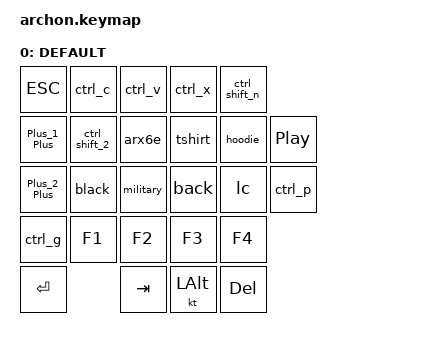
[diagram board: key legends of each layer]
#include <behaviors.dtsi>
#include <dt-bindings/zmk/keys.h>
#include <dt-bindings/zmk/bt.h>
#include <dt-bindings/zmk/outputs.h>

#define DEFAULT 0
#define LOW     1

/ {
    macros {

        // Macro for Ctrl + C (Copy)
        ctrl_c: ctrl_c {
            compatible = "zmk,behavior-macro";
            #binding-cells = <0>;
            bindings =
                <&macro_press &kp LEFT_CONTROL>,
                <&macro_tap &kp C>,
                <&macro_release &kp LEFT_CONTROL>;
        };

         // Macro for .arx6e
         arx6e: arx6e {
            compatible = "zmk,behavior-macro";
            #binding-cells = <0>;
            bindings =
                <&macro_tap &kp PERIOD>,
                <&macro_tap &kp A>,
                <&macro_tap &kp R>,
                <&macro_tap &kp X>,
                <&macro_tap &kp N6>,
                <&macro_tap &kp E>;

        };

        // Macro for T-Shirt
        tshirt: tshirt {
            compatible = "zmk,behavior-macro";
            #binding-cells = <0>;
            bindings = 
                <&macro_tap &kp LS(T)>,
                <&macro_release &kp LS(T)>,
                <&macro_tap &kp MINUS>,
                <&macro_tap &kp LS(S)>,
                <&macro_release &kp LS(S)>,
                <&macro_tap &kp H>,
                <&macro_tap &kp I>,
                <&macro_tap &kp R>,
                <&macro_tap &kp T>;
        };

        // Macro for Hoodie
        hoodie: hoodie {
            compatible = "zmk,behavior-macro";
            #binding-cells = <0>;
            bindings = 
                <&macro_tap &kp LS(H)>,
                <&macro_release &kp LS(H)>,
                <&macro_tap &kp O>,
                <&macro_tap &kp O>,
                <&macro_tap &kp D>,
                <&macro_tap &kp I>,
                <&macro_tap &kp E>;
        };

        // Macro for Military
        military: military {
            compatible = "zmk,behavior-macro";
            #binding-cells = <0>;
            bindings = 
                <&macro_tap &kp LS(M)>,
                <&macro_release &kp LS(M)>,
                <&macro_tap &kp I>,
                <&macro_tap &kp L>,
                <&macro_tap &kp I>,
                <&macro_tap &kp T>,
                <&macro_tap &kp A>,
                <&macro_tap &kp R>,
                <&macro_tap &kp Y>;
        };

        // Macro for Black
        black: black {
            compatible = "zmk,behavior-macro";
            #binding-cells = <0>;
            bindings = 
                <&macro_tap &kp LS(B)>,
                <&macro_release &kp LS(B)>,
                <&macro_tap &kp L>,
                <&macro_tap &kp A>,
                <&macro_tap &kp C>,
                <&macro_tap &kp K>;
        };

        // Macro for Back
        back: back {
            compatible = "zmk,behavior-macro";
            #binding-cells = <0>;
            bindings = 
                <&macro_tap &kp LS(B)>,
                <&macro_release &kp LS(B)>,
                <&macro_tap &kp A>,
                <&macro_tap &kp C>,
                <&macro_tap &kp K>;
        };

        // Macro for LC
        lc: lc {
            compatible = "zmk,behavior-macro";
            #binding-cells = <0>;
            bindings = 
                <&macro_tap &kp LS(L)>,
                <&macro_release &kp LS(L)>,
                <&macro_tap &kp LS(C)>,
                <&macro_release &kp LS(C)>;
        };

        // Macro for Ctrl + V (Paste)
        ctrl_v: ctrl_v {
            compatible = "zmk,behavior-macro";
            #binding-cells = <0>;
            bindings =
                <&macro_press &kp LEFT_CONTROL>,
                <&macro_tap &kp V>,
                <&macro_release &kp LEFT_CONTROL>;
        };

        // Macro for Ctrl + Shift + N (New Folder)
        ctrl_shift_n: ctrl_shift_n {
            compatible = "zmk,behavior-macro";
            #binding-cells = <0>;
            bindings =
                <&macro_press &kp LEFT_CONTROL &kp LSHFT>,
                <&macro_tap &kp N>,
                <&macro_release &kp LEFT_CONTROL &kp LSHFT>;
        };

        // Macro for Ctrl + X (Cut)
        ctrl_x: ctrl_x {
            compatible = "zmk,behavior-macro";
            #binding-cells = <0>;
            bindings =
                <&macro_press &kp LEFT_CONTROL>,
                <&macro_tap &kp X>,
                <&macro_release &kp LEFT_CONTROL>;
        };

        // Macro for Ctrl + Z (Undo)
        ctrl_z: ctrl_z {
            compatible = "zmk,behavior-macro";
            #binding-cells = <0>;
            bindings =
                <&macro_press &kp LEFT_CONTROL>,
                <&macro_tap &kp Z>,
                <&macro_release &kp LEFT_CONTROL>;
        };

        // Macro for Ctrl + Shift + 2 (View Large Icon)
        ctrl_shift_2: ctrl_shift_2 {
            compatible = "zmk,behavior-macro";
            #binding-cells = <0>;
            bindings =
                <&macro_press &kp LEFT_CONTROL &kp LSHFT>,
                <&macro_tap &kp N2>,
                <&macro_release &kp LEFT_CONTROL &kp LSHFT>;
        };

        // Macro for Ctrl + Backspace (Delete Previous Word)
        ctrl_backspace: ctrl_backspace {
            compatible = "zmk,behavior-macro";
            #binding-cells = <0>;
            bindings =
                <&macro_press &kp LEFT_CONTROL>,
                <&macro_tap &kp BSPC>,
                <&macro_release &kp LEFT_CONTROL>;
        };

        // Macro for Plus + 1 + Plus (Printer 1)
        Plus_1_Plus: Plus_1_Plus {
            compatible = "zmk,behavior-macro";
            #binding-cells = <0>;
            wait-ms = <300>;    
            bindings =
                <&macro_tap &kp KP_PLUS>,
                <&macro_tap &kp N1>,
                <&macro_tap &kp KP_PLUS>;
        };
        
        // Macro for Plus + 2 + Plus (Printer 2)
        Plus_2_Plus: Plus_2_Plus {
            compatible = "zmk,behavior-macro";
            #binding-cells = <0>;
            wait-ms = <300>;    
            bindings =
                <&macro_tap &kp KP_PLUS>,
                <&macro_tap &kp N2>,
                <&macro_tap &kp KP_PLUS>;
        };

        // Macro for Ctrl + G (Toggle GTX600 mode)
        ctrl_g: ctrl_g {
            compatible = "zmk,behavior-macro";
            #binding-cells = <0>;
            bindings =
                <&macro_press &kp LEFT_CONTROL>,
                <&macro_tap &kp G>,
                <&macro_release &kp LEFT_CONTROL>;
        };

        // Macro for Ctrl + P (Capture)
        ctrl_p: ctrl_p {
            compatible = "zmk,behavior-macro";
            #binding-cells = <0>;
            bindings =
                <&macro_press &kp LEFT_CONTROL>,
                <&macro_tap &kp P>,
                <&macro_release &kp LEFT_CONTROL>;
        };
    };

    keymap {
        compatible = "zmk,keymap";

        DEFAULT {
            bindings = < 
				&ESC			&ctrl_c	         &ctrl_v	  &ctrl_x	 &ctrl_shift_n
				&Plus_1_Plus 	&ctrl_shift_2	 &arx6e	      &tshirt    &hoodie	      &kp C_PLAY_PAUSE
				&Plus_2_Plus    &black	         &military	  &back	     &lc	          &ctrl_p
				&ctrl_g         &kp F1	         &kp F2	      &kp F3	 &kp F4
                &kp ENTER			             &kp TAB	  &kt LALT	 &kp DEL
            >;
        };

	};
};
